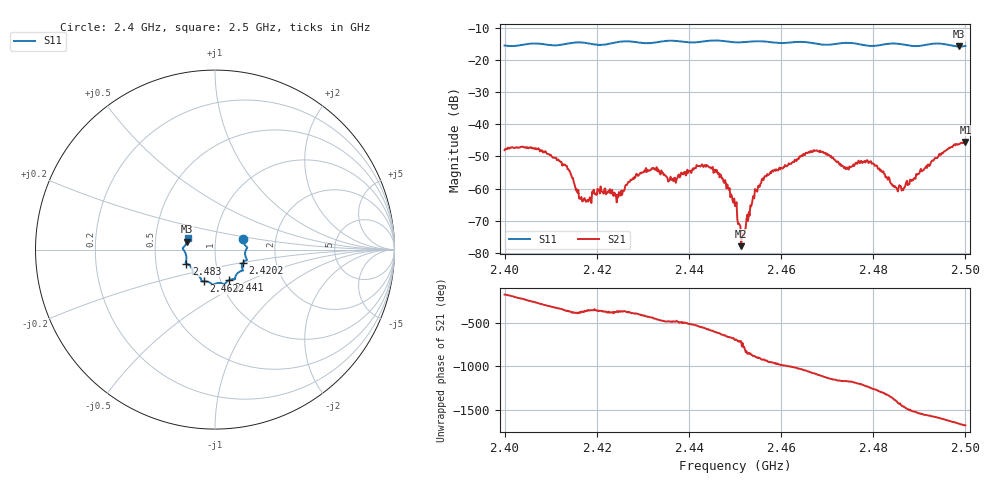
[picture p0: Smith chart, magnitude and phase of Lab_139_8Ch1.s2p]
# Hz S RI R 50
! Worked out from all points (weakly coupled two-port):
!   601 points, 2.4 GHz to 2.5 GHz, reference 50 ohm
!   highest |S21| = -45.47 dB at 2.5 GHz (marker M1); lowest = -77.9 dB at 2.4513 GHz (marker M2)
!   lowest |S11| = -15.8 dB at 2.4987 GHz (marker M3), VSWR 1.39, Z = 36.4 + j3.3 ohm
!   |S11| at or under -10 dB: start of sweep to end of sweep
!   S12 and S22 are empty: the file has one direction only
!   S11 on the Smith chart (normalised r, x): 2.4 GHz: 1.36, +0.17; 2.4202 GHz: 1.35, -0.20; 2.441 GHz: 1.10, -0.39; 2.4622 GHz: 0.83, -0.30; 2.483 GHz: 0.72, -0.12; 2.5 GHz: 0.73, +0.09
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2.4e9  0.1563 0.0602  -0.00396 -0.000237  0 0  0 0
2.4115e9  0.1672 -0.0247  0.00252 0.00118  0 0  0 0
2.416667e9  0.1776 -0.0583  0.000702 -0.000234  0 0  0 0
2.420167e9  0.1565 -0.072  0.000988 -9.26e-05  0 0  0 0
2.424667e9  0.1545 -0.1112  0.000693 -0.00024  0 0  0 0
2.429e9  0.1436 -0.1197  0.00122 -0.001  0 0  0 0
2.433333e9  0.1131 -0.1524  -0.000493 -0.00193  0 0  0 0
2.436833e9  0.1089 -0.1656  -0.000854 -0.0012  0 0  0 0
2.441e9  0.0769 -0.1705  -0.00188 -0.000593  0 0  0 0
2.446e9  0.0517 -0.1938  -0.000566 0.00186  0 0  0 0
2.45e9  0.0267 -0.1863  0.000499 0.000196  0 0  0 0
2.451333e9  0.0136 -0.1873  0.000126 1.56e-05  0 0  0 0
2.456167e9  -0.0145 -0.1936  -0.00125 0.000531  0 0  0 0
2.462167e9  -0.0629 -0.1767  0.00062 0.00233  0 0  0 0
2.466667e9  -0.0769 -0.167  0.00379 0.000379  0 0  0 0
2.474167e9  -0.1243 -0.1362  -1.99e-05 -0.00202  0 0  0 0
2.479e9  -0.1299 -0.1033  -0.00235 -0.000799  0 0  0 0
2.483e9  -0.1593 -0.0779  -0.00058 0.00135  0 0  0 0
2.483333e9  -0.1608 -0.0773  -0.00037 0.00146  0 0  0 0
2.4865e9  -0.1617 -0.0639  0.000864 -0.000379  0 0  0 0
2.498667e9  -0.1557 0.0442  -0.00367 0.00324  0 0  0 0
2.5e9  -0.1527 0.0625  -0.00266 0.00461  0 0  0 0
